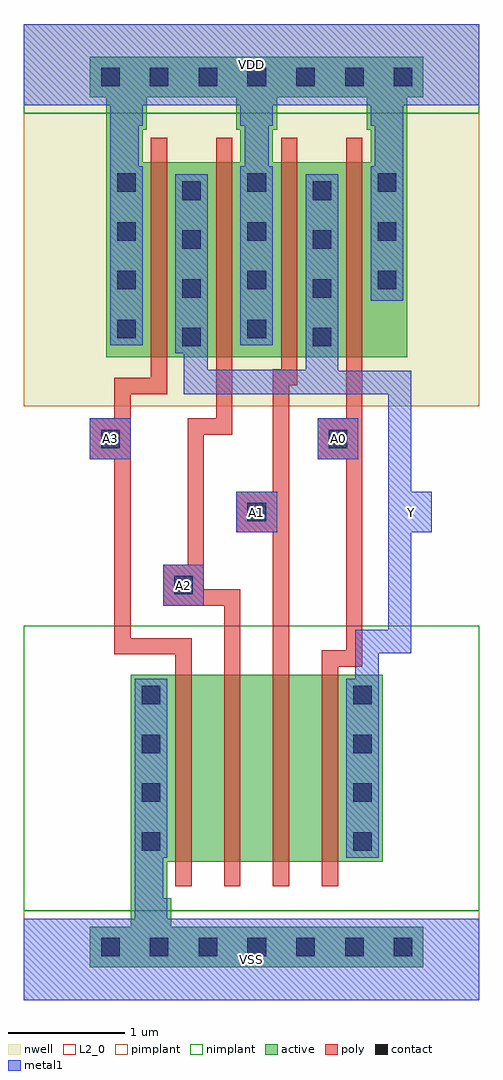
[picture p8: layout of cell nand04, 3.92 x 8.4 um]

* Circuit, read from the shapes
.subckt nand04 A0 A1 A2 A3 VDD VSS Y
M1 n1 A3 VSS VSS nfet w=1.61u l=0.14u
M2 n2 A2 n1 VSS nfet w=1.61u l=0.14u
M3 n3 A1 n2 VSS nfet w=1.61u l=0.14u
M4 Y A0 n3 VSS nfet w=1.61u l=0.14u
M5 Y A3 VDD VDD pfet w=1.68u l=0.14u
M6 VDD A2 Y VDD pfet w=1.68u l=0.14u
M7 Y A1 VDD VDD pfet w=1.68u l=0.14u
M8 VDD A0 Y VDD pfet w=1.68u l=0.14u
.ends

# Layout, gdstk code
import gdstk
lib = gdstk.Library(unit=1e-6, precision=1e-09)
def R(c, l, rs):  # rectangles x0, y0, x1, y1
    for r in rs: c.add(gdstk.rectangle(r[:2], r[2:], *l))
def A(c, l, x, y, w, h, nx, ny, dx, dy):  # array of equal rectangles
    R(c, l, [(x+i*dx, y+j*dy, x+i*dx+w, y+j*dy+h) for i in range(nx) for j in range(ny)])
def P(c, l, *ps):  # polygons
    for p in ps: c.add(gdstk.Polygon(p, *l))
L2_0 = (2, 0)
nwell = (3, 0)
active = (6, 0)
poly = (17, 0)
pimplant = (25, 0)
nimplant = (26, 0)
contact = (30, 0)
metal1 = (31, 0)

adk_poly_m1 = lib.new_cell('ADK_poly_m1')
R(adk_poly_m1, poly, [(-0.175,-0.175,0.175,0.175)])
R(adk_poly_m1, contact, [(-0.08,-0.08,0.08,0.08)])
R(adk_poly_m1, metal1, [(-0.175,-0.175,0.175,0.175)])

nand04 = lib.new_cell('nand04')
R(nand04, L2_0, [(0,0,3.92,3.22)])
R(nand04, nwell, [(0,5.11,3.92,8.4), (0,5.11,3.92,7.63)])
A(nand04, active, 0.71, 7.49, 0.35, 0.28, 3, 1, 1.12, 0)
R(nand04, active, [(0.57,0.28,3.44,0.63), (0.92,0.63,1.27,0.875), (0.92,0.875,1.235,1.19), (0.92,1.19,1.305,2.8), (0.92,1.19,3.09,2.8), (2.705,1.19,3.09,2.8), (0.71,5.53,3.3,7.21), (0.71,5.53,1.095,7.21), (2.915,5.53,3.3,7.21), (0.71,7.21,1.025,7.49), (1.865,7.21,2.145,7.49), (2.985,7.21,3.3,7.49), (0.57,7.77,3.44,8.12)])
A(nand04, poly, 1.305, 0.98, 0.14, 0.21, 4, 2, 0.42, 1.82)
A(nand04, poly, 1.305, 1.19, 0.14, 1.61, 4, 1, 0.42, 0)
A(nand04, poly, 1.095, 5.32, 0.14, 0.21, 4, 2, 0.56, 1.89)
A(nand04, poly, 1.095, 5.53, 0.14, 1.68, 4, 1, 0.56, 0)
P(nand04, poly, [(1.41,3.745),(1.55,3.745),(1.55,4.865),(1.795,4.865),(1.795,5.355),(1.655,5.355),(1.655,5.005),(1.41,5.005)],
  [(0.78,5.005),(0.92,5.005),(0.92,5.215),(1.235,5.215),(1.235,5.355),(0.78,5.355)],
  [(0.78,2.975),(1.445,2.975),(1.445,3.115),(0.92,3.115),(0.92,4.655),(0.78,4.655)],
  [(2.145,2.975),(2.285,2.975),(2.285,5.29),(2.355,5.29),(2.355,5.355),(2.215,5.355),(2.215,5.43),(2.145,5.43)],
  [(2.565,2.87),(2.915,2.87),(2.915,5.46),(2.775,5.46),(2.775,3.01),(2.565,3.01)],
  [(1.55,3.395),(1.725,3.395),(1.725,2.975),(1.865,2.975),(1.865,3.535),(1.55,3.535)])
R(nand04, pimplant, [(0,0,3.92,0.77), (0,5.11,3.92,7.63)])
R(nand04, nimplant, [(0,0.77,3.92,3.22), (0,7.63,3.92,8.4)])
A(nand04, contact, 0.665, 0.375, 0.16, 0.16, 7, 2, 0.42, 7.49)
A(nand04, contact, 1.015, 1.285, 0.16, 0.16, 1, 4, 0, 0.42)
A(nand04, contact, 2.835, 1.285, 0.16, 0.16, 1, 4, 0, 0.42)
A(nand04, contact, 1.365, 5.625, 0.16, 0.16, 1, 4, 0, 0.42)
A(nand04, contact, 2.485, 5.625, 0.16, 0.16, 1, 4, 0, 0.42)
A(nand04, contact, 0.805, 6.115, 0.16, 0.16, 3, 3, 1.12, 0.42)
R(nand04, contact, [(0.805,5.695,0.965,5.855), (1.925,5.695,2.085,5.855)])
A(nand04, metal1, 0.745, 7.525, 0.28, 0.175, 3, 1, 1.12, 0)
R(nand04, metal1, [(0,0,3.92,0.7), (0.955,0.7,1.235,0.875), (0.955,0.875,1.2,1.225), (0.955,1.225,1.235,2.765), (2.775,1.225,3.055,2.765), (1.2,3.395,1.55,3.745), (1.83,4.025,2.18,4.375), (3.16,4.025,3.51,4.375), (3.16,4.025,3.51,4.375), (0.57,4.655,0.92,5.005), (2.53,4.655,2.88,5.005), (1.305,5.565,1.585,7.105), (2.425,5.565,2.705,7.105), (0.745,5.635,1.025,7.175), (1.865,5.635,2.145,7.175), (2.985,6.02,3.265,7.175), (0.745,7.175,0.99,7.525), (1.9,7.175,2.11,7.525), (3.02,7.175,3.265,7.525), (0,7.7,3.92,8.4)])
P(nand04, metal1, [(1.375,5.215),(2.705,5.215),(2.705,5.565),(2.425,5.565),(2.425,5.425),(1.585,5.425),(1.585,5.565),(1.375,5.565)],
  [(2.435,5.215),(3.135,5.215),(3.135,3.185),(2.855,3.185),(2.855,2.565),(3.055,2.565),(3.055,2.985),(3.335,2.985),(3.335,5.415),(2.435,5.415)])
nand04.add(gdstk.Reference(adk_poly_m1, (2.005,4.2), x_reflection=True))
nand04.add(gdstk.Reference(adk_poly_m1, (0.745,4.83), x_reflection=True))
nand04.add(gdstk.Reference(adk_poly_m1, (1.375,3.57), x_reflection=True))
nand04.add(gdstk.Reference(adk_poly_m1, (2.705,4.83), x_reflection=True))
nand04.add(gdstk.Label('VSS', (1.96,0.35), layer=131, texttype=0))
nand04.add(gdstk.Label('VDD', (1.96,8.05), layer=131, texttype=0))
nand04.add(gdstk.Label('A0', (2.705,4.83), layer=131, texttype=0))
nand04.add(gdstk.Label('A3', (0.745,4.83), layer=131, texttype=0))
nand04.add(gdstk.Label('A2', (1.375,3.57), layer=131, texttype=0))
nand04.add(gdstk.Label('A1', (2.005,4.2), layer=131, texttype=0))
nand04.add(gdstk.Label('Y', (3.335,4.2), layer=131, texttype=0))

lib.write_gds('nand04.gds')
